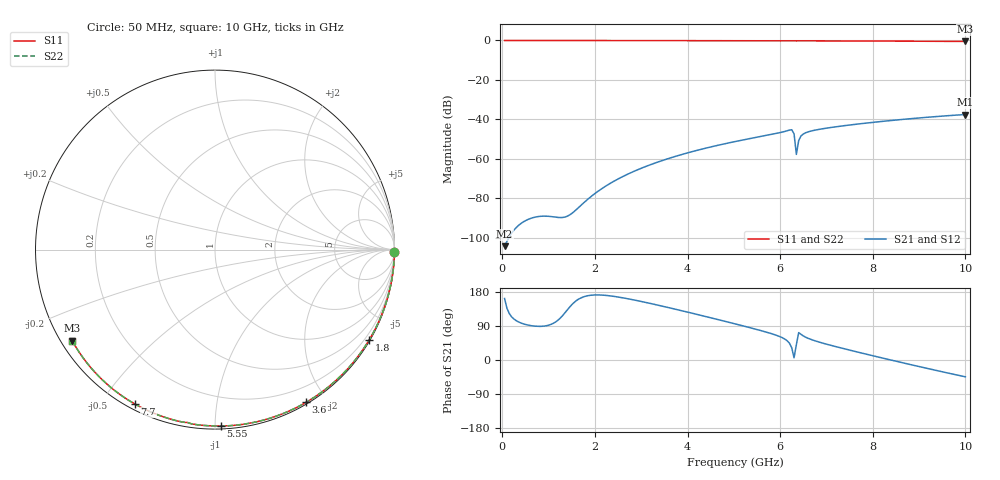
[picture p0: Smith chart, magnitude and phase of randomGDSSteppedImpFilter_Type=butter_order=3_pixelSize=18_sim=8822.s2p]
! freq	dB(S11)	phase(S11)	dB(S12)	phase(S12)
!  dB(S21)	phase(S21)	dB(S22)	phase(S22)
!S-par simulation data
#  GHz  S  DB  R 50
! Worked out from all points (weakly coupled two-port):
!   200 points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, 50 MHz to 10 GHz, reference 50 ohm
!   highest |S21| = -37.49 dB at 10 GHz (marker M1); lowest = -104.2 dB at 50 MHz (marker M2)
!   lowest |S11| = -0.5 dB at 10 GHz (marker M3), VSWR 34.58, Z = 1.57 - j14.6 ohm
!   |S11| at or under -10 dB: nowhere
!   |S22| runs from -0.5 to 0.0 dB; largest |S21 - S12| = 0
!   S11 on the Smith chart (normalised r, x): 50 MHz: open; 1.8 GHz: 0.03, -3.69; 3.6 GHz: 0.02, -1.76; 5.55 GHz: 0.02, -1.03; 7.7 GHz: 0.02, -0.61; 10 GHz: 0.03, -0.29
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0.05  -0.00 -0.9  -104.16 162.2  -104.16 162.2  -0.00 -0.9
0.85  -0.02 -14.5  -89.00 88.9  -89.00 88.9  -0.02 -14.5
1.75  -0.04 -29.5  -82.38 166.4  -82.38 166.4  -0.04 -29.5
1.8  -0.04 -30.3  -81.33 168.3  -81.33 168.3  -0.04 -30.3
1.9  -0.04 -32.0  -79.35 170.7  -79.35 170.7  -0.04 -32.0
2.25  -0.05 -37.7  -73.50 170.3  -73.50 170.3  -0.05 -37.7
2.6  -0.06 -43.4  -68.93 164.1  -68.93 164.1  -0.06 -43.4
3.4  -0.07 -56.1  -61.23 143.6  -61.23 143.6  -0.07 -56.1
3.6  -0.08 -59.2  -59.69 138.0  -59.69 138.0  -0.08 -59.2
4.3  -0.10 -69.8  -55.08 117.5  -55.08 117.5  -0.10 -69.8
5.05  -0.12 -80.9  -51.08 94.7  -51.08 94.7  -0.12 -80.9
5.55  -0.14 -88.1  -48.76 78.8  -48.76 78.8  -0.14 -88.1
6.25  -0.19 -98.0  -45.20 32.3  -45.20 32.3  -0.19 -98.0
6.3  -0.21 -98.7  -47.27 5.9  -47.27 5.9  -0.21 -98.7
6.35  -0.22 -99.2  -57.69 40.4  -57.69 40.4  -0.22 -99.2
6.4  -0.20 -99.8  -50.68 72.4  -50.68 72.4  -0.20 -99.8
6.45  -0.20 -100.5  -48.37 67.7  -48.37 67.7  -0.20 -100.5
6.55  -0.20 -101.9  -46.74 60.2  -46.74 60.2  -0.20 -101.9
6.7  -0.21 -104.0  -45.68 52.8  -45.68 52.8  -0.21 -104.0
7.7  -0.27 -117.4  -42.26 20.1  -42.26 20.1  -0.27 -117.4
8.35  -0.32 -125.9  -40.63 1.1  -40.63 1.1  -0.32 -125.9
10  -0.50 -147.4  -37.49 -44.4  -37.49 -44.4  -0.50 -147.4
